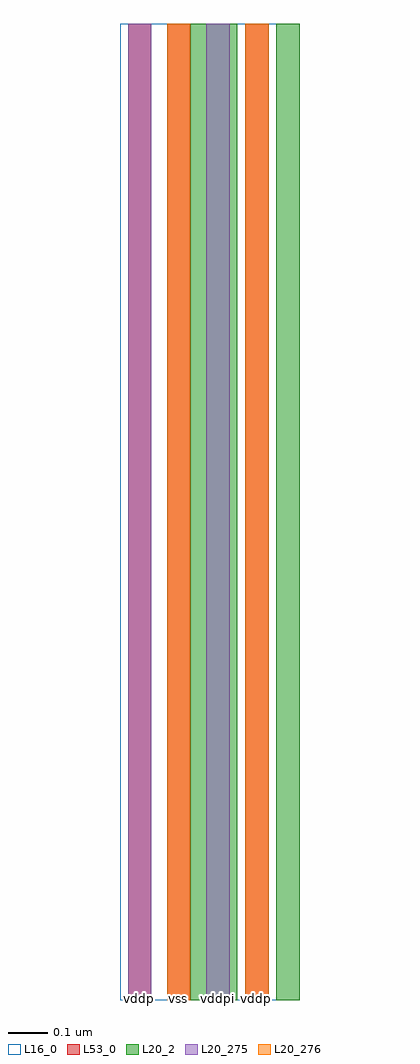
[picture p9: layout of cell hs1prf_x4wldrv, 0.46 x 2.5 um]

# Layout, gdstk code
import gdstk
lib = gdstk.Library(unit=1e-6, precision=5e-10)
def R(c, l, rs):  # rectangles x0, y0, x1, y1
    for r in rs: c.add(gdstk.rectangle(r[:2], r[2:], *l))
L16_0 = (16, 0)
L20_2 = (20, 2)
L20_275 = (20, 275)
L20_276 = (20, 276)
L53_0 = (53, 0)

hs1prf_x4wldrv = lib.new_cell('hs1prf_x4wldrv')
R(hs1prf_x4wldrv, L16_0, [(0,0,0.46,2.5)])
R(hs1prf_x4wldrv, L20_2, [(0.18,0,0.3,2.5), (0.4,0,0.46,2.5)])
R(hs1prf_x4wldrv, L53_0, [(0.02,0,0.08,2.5), (0.12,0,0.18,2.5), (0.32,0,0.38,2.5)])
hs1prf_x4wldrv.add(gdstk.FlexPath([(0.05,0),(0.05,2.5)], 0.06, ends="flush", simple_path=True, layer=20, datatype=275))  # L20_275
hs1prf_x4wldrv.add(gdstk.FlexPath([(0.15,0),(0.15,2.5)], 0.06, ends="flush", simple_path=True, layer=20, datatype=276))  # L20_276
hs1prf_x4wldrv.add(gdstk.FlexPath([(0.25,0),(0.25,2.5)], 0.06, ends="flush", simple_path=True, layer=20, datatype=275))  # L20_275
hs1prf_x4wldrv.add(gdstk.FlexPath([(0.35,0),(0.35,2.5)], 0.06, ends="flush", simple_path=True, layer=20, datatype=276))  # L20_276
hs1prf_x4wldrv.add(gdstk.Label('vddp', (0.05,0.005), layer=60, texttype=0))
hs1prf_x4wldrv.add(gdstk.Label('vss', (0.15,0.005), layer=60, texttype=0))
hs1prf_x4wldrv.add(gdstk.Label('vddpi', (0.25,0.005), layer=60, texttype=0))
hs1prf_x4wldrv.add(gdstk.Label('vddp', (0.35,0.005), layer=60, texttype=0))

lib.write_gds('hs1prf_x4wldrv.gds')
